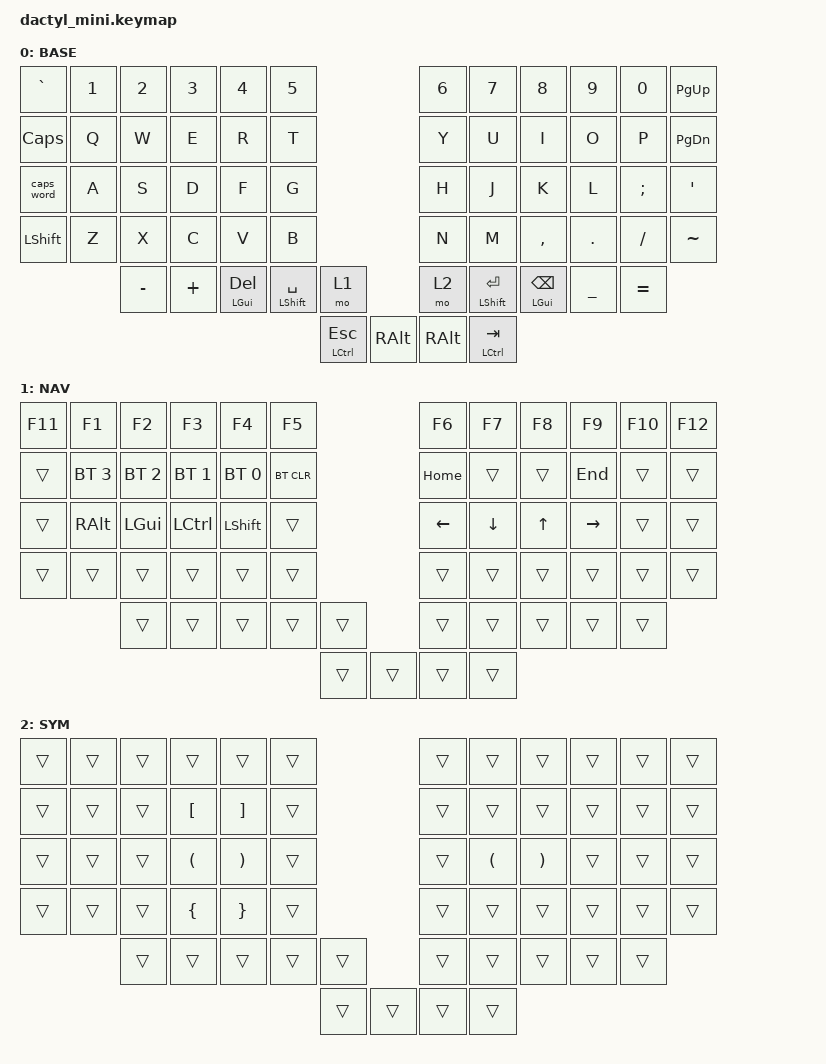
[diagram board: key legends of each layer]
#include <behaviors.dtsi>
#include <dt-bindings/zmk/bt.h>
#include <dt-bindings/zmk/keys.h>

/ {
    behaviors {
        mod_pref_tap: mod_pref_tap {
            compatible = "zmk,behavior-hold-tap";
            label = "MOD_PREF_TAP";
            bindings = <&kp>, <&kp>;

            #binding-cells = <2>;
            tapping-term-ms = <200>;
            flavor = "tap-preferred";
        };
    };

    keymap {
        compatible = "zmk,keymap";

        BASE {
            bindings = <
&kp GRAVE   &kp N1  &kp N2     &kp N3    &kp N4  &kp N5                                                                                             &kp N6                   &kp N7  &kp N8     &kp N9     &kp N0    &kp PAGE_UP
&kp CAPS    &kp Q   &kp W      &kp E     &kp R   &kp T                                                                                              &kp Y                    &kp U   &kp I      &kp O      &kp P     &kp PAGE_DOWN
&caps_word  &kp A   &kp S      &kp D     &kp F   &kp G                                                                                              &kp H                    &kp J   &kp K      &kp L      &kp SEMI  &kp SQT
&kp LSHIFT  &kp Z   &kp X      &kp C     &kp V   &kp B                                                                                              &kp N                    &kp M   &kp COMMA  &kp DOT    &kp FSLH  &kp TILDE
                    &kp MINUS  &kp PLUS          &mod_pref_tap LGUI DEL  &mod_pref_tap LSHFT SPACE  &mo 1       &mo 2     &mod_pref_tap LSHIFT RET  &mod_pref_tap LGUI BSPC          &kp UNDER  &kp EQUAL
                                                                         &mod_pref_tap LCTRL ESC    &kp RALT    &kp RALT  &mod_pref_tap LCTRL TAB
            >;
        };

        NAV {
            bindings = <
&kp F11  &kp F1        &kp F2        &kp F3        &kp F4        &kp F5                                        &kp F6    &kp F7    &kp F8  &kp F9     &kp F10  &kp F12
&trans   &bt BT_SEL 3  &bt BT_SEL 2  &bt BT_SEL 1  &bt BT_SEL 0  &bt BT_CLR                                    &kp HOME  &trans    &trans  &kp END    &trans   &trans
&trans   &kp RALT      &kp LGUI      &kp LCTRL     &kp LSHIFT    &trans                                        &kp LEFT  &kp DOWN  &kp UP  &kp RIGHT  &trans   &trans
&trans   &trans        &trans        &trans        &trans        &trans                                        &trans    &trans    &trans  &trans     &trans   &trans
                       &trans        &trans                      &trans      &trans  &trans    &trans  &trans  &trans              &trans  &trans
                                                                             &trans  &trans    &trans  &trans
            >;
        };

        SYM {
            bindings = <
&trans  &trans  &trans  &trans                &trans                 &trans                                    &trans  &trans                &trans                 &trans  &trans  &trans
&trans  &trans  &trans  &kp LEFT_BRACKET      &kp RIGHT_BRACKET      &trans                                    &trans  &trans                &trans                 &trans  &trans  &trans
&trans  &trans  &trans  &kp LEFT_PARENTHESIS  &kp RIGHT_PARENTHESIS  &trans                                    &trans  &kp LEFT_PARENTHESIS  &kp RIGHT_PARENTHESIS  &trans  &trans  &trans
&trans  &trans  &trans  &kp LEFT_BRACE        &kp RIGHT_BRACE        &trans                                    &trans  &trans                &trans                 &trans  &trans  &trans
                &trans  &trans                                       &trans  &trans  &trans    &trans  &trans  &trans                        &trans                 &trans
                                                                             &trans  &trans    &trans  &trans
            >;
        };
    };
};

